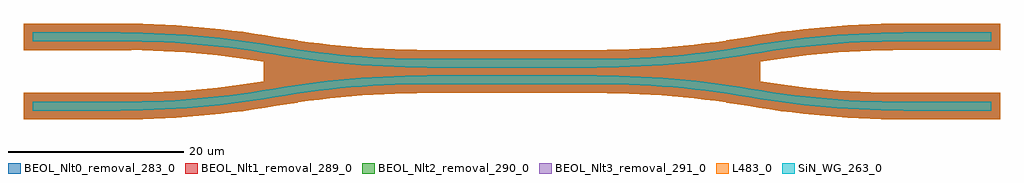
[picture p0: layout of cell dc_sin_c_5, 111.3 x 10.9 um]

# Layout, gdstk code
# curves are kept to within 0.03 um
import gdstk
lib = gdstk.Library(unit=1e-6, precision=1e-09)
def R(c, l, rs):  # rectangles x0, y0, x1, y1
    for r in rs: c.add(gdstk.rectangle(r[:2], r[2:], *l))
def P(c, l, *ps):  # polygons
    for p in ps: c.add(gdstk.Polygon(p, *l))
SiN_WG_263_0 = (263, 0)
BEOL_Nlt0_removal_283_0 = (283, 0)
BEOL_Nlt1_removal_289_0 = (289, 0)
BEOL_Nlt2_removal_290_0 = (290, 0)
BEOL_Nlt3_removal_291_0 = (291, 0)
L483_0 = (483, 0)

c_v2 = lib.new_cell('V2')
R(c_v2, SiN_WG_263_0, [(0,0,10,1), (99.3,0,109.3,1), (45,3,64.3,4), (45,4.9,64.3,5.9), (0,7.9,10,8.9), (99.3,7.9,109.3,8.9)])
P(c_v2, SiN_WG_263_0, [(99.3,0),(95.514,0.068),(92.993,0.192),(90.476,0.376),(87.964,0.623),(85.458,0.93),(81.715,1.507),(81.885,2.493),(85.591,1.922),(88.073,1.617),(90.561,1.373),(94.302,1.121),(96.8,1.03),(99.3,1)],
  [(81.715,1.507),(78.009,2.078),(75.527,2.383),(73.039,2.627),(69.298,2.879),(66.8,2.97),(64.3,3),(64.3,4),(68.086,3.932),(71.866,3.724),(75.636,3.377),(79.392,2.893),(81.885,2.493)],
  [(27.585,1.507),(27.415,2.493),(29.908,2.893),(33.664,3.377),(37.434,3.724),(41.214,3.932),(45,4),(45,3),(42.5,2.97),(40.002,2.879),(36.261,2.627),(33.773,2.383),(31.291,2.078)],
  [(10,0),(10,1),(12.5,1.03),(14.998,1.121),(18.739,1.373),(21.227,1.617),(23.709,1.922),(27.415,2.493),(27.585,1.507),(23.842,0.93),(21.336,0.623),(18.824,0.376),(16.307,0.192),(13.786,0.068)],
  [(81.885,6.407),(81.715,7.393),(84.208,7.793),(87.964,8.277),(91.734,8.624),(95.514,8.832),(99.3,8.9),(99.3,7.9),(96.8,7.87),(94.302,7.779),(90.561,7.527),(88.073,7.283),(85.591,6.978)],
  [(64.3,4.9),(64.3,5.9),(66.8,5.93),(69.298,6.021),(73.039,6.273),(75.527,6.517),(78.009,6.822),(81.715,7.393),(81.885,6.407),(78.142,5.83),(75.636,5.523),(73.124,5.276),(70.607,5.092),(68.086,4.968)],
  [(45,4.9),(41.214,4.968),(38.693,5.092),(36.176,5.276),(33.664,5.523),(31.158,5.83),(27.415,6.407),(27.585,7.393),(31.291,6.822),(33.773,6.517),(36.261,6.273),(40.002,6.021),(42.5,5.93),(45,5.9)],
  [(27.415,6.407),(23.709,6.978),(21.227,7.283),(18.739,7.527),(14.998,7.779),(12.5,7.87),(10,7.9),(10,8.9),(13.786,8.832),(17.566,8.624),(21.336,8.277),(25.092,7.793),(27.585,7.393)])

v2_nit0 = lib.new_cell('V2_nit0')
P(v2_nit0, BEOL_Nlt0_removal_283_0, [(-1,-1),(-1,2),(11.244,2.007),(14.943,2.119),(18.652,2.369),(21.123,2.611),(23.581,2.914),(26.312,3.322),(26.312,5.578),(23.581,5.986),(21.123,6.289),(18.652,6.531),(16.179,6.713),(13.719,6.832),(9.994,6.9),(-1,6.9),(-1,9.9),(11.274,9.893),(13.822,9.831),(16.368,9.706),(18.91,9.52),(22.712,9.124),(25.238,8.782),(31.419,7.814),(35.12,7.382),(40.057,7.019),(45.006,6.9),(64.3,6.9),(69.243,7.019),(72.952,7.269),(75.423,7.511),(79.095,7.985),(85.324,8.961),(89.121,9.403),(91.661,9.621),(94.204,9.777),(98.026,9.893),(110.3,9.9),(110.3,6.9),(98.056,6.893),(94.357,6.781),(90.648,6.531),(88.177,6.289),(85.719,5.986),(82.988,5.578),(82.988,3.322),(85.719,2.914),(88.177,2.611),(90.648,2.369),(93.121,2.187),(95.581,2.068),(99.306,2),(110.3,2),(110.3,-1),(98.026,-0.993),(95.478,-0.931),(92.932,-0.806),(90.39,-0.62),(86.588,-0.224),(84.062,0.118),(77.881,1.086),(74.18,1.518),(69.243,1.881),(64.294,2),(45,2),(40.057,1.881),(36.348,1.631),(33.877,1.389),(30.205,0.915),(23.976,-0.061),(20.179,-0.503),(17.639,-0.721),(15.096,-0.877),(11.274,-0.993)])

v2_nit1 = lib.new_cell('V2_nit1')
P(v2_nit1, BEOL_Nlt1_removal_289_0, [(-1,-1),(-1,2),(11.244,2.007),(14.943,2.119),(18.652,2.369),(21.123,2.611),(23.581,2.914),(26.312,3.322),(26.312,5.578),(23.581,5.986),(21.123,6.289),(18.652,6.531),(16.179,6.713),(13.719,6.832),(9.994,6.9),(-1,6.9),(-1,9.9),(11.274,9.893),(13.822,9.831),(16.368,9.706),(18.91,9.52),(22.712,9.124),(25.238,8.782),(31.419,7.814),(35.12,7.382),(40.057,7.019),(45.006,6.9),(64.3,6.9),(69.243,7.019),(72.952,7.269),(75.423,7.511),(79.095,7.985),(85.324,8.961),(89.121,9.403),(91.661,9.621),(94.204,9.777),(98.026,9.893),(110.3,9.9),(110.3,6.9),(98.056,6.893),(94.357,6.781),(90.648,6.531),(88.177,6.289),(85.719,5.986),(82.988,5.578),(82.988,3.322),(85.719,2.914),(88.177,2.611),(90.648,2.369),(93.121,2.187),(95.581,2.068),(99.306,2),(110.3,2),(110.3,-1),(98.026,-0.993),(95.478,-0.931),(92.932,-0.806),(90.39,-0.62),(86.588,-0.224),(84.062,0.118),(77.881,1.086),(74.18,1.518),(69.243,1.881),(64.294,2),(45,2),(40.057,1.881),(36.348,1.631),(33.877,1.389),(30.205,0.915),(23.976,-0.061),(20.179,-0.503),(17.639,-0.721),(15.096,-0.877),(11.274,-0.993)])

v2_nit2 = lib.new_cell('V2_nit2')
P(v2_nit2, BEOL_Nlt2_removal_290_0, [(-1,-1),(-1,2),(11.244,2.007),(14.943,2.119),(18.652,2.369),(21.123,2.611),(23.581,2.914),(26.312,3.322),(26.312,5.578),(23.581,5.986),(21.123,6.289),(18.652,6.531),(16.179,6.713),(13.719,6.832),(9.994,6.9),(-1,6.9),(-1,9.9),(11.274,9.893),(13.822,9.831),(16.368,9.706),(18.91,9.52),(22.712,9.124),(25.238,8.782),(31.419,7.814),(35.12,7.382),(40.057,7.019),(45.006,6.9),(64.3,6.9),(69.243,7.019),(72.952,7.269),(75.423,7.511),(79.095,7.985),(85.324,8.961),(89.121,9.403),(91.661,9.621),(94.204,9.777),(98.026,9.893),(110.3,9.9),(110.3,6.9),(98.056,6.893),(94.357,6.781),(90.648,6.531),(88.177,6.289),(85.719,5.986),(82.988,5.578),(82.988,3.322),(85.719,2.914),(88.177,2.611),(90.648,2.369),(93.121,2.187),(95.581,2.068),(99.306,2),(110.3,2),(110.3,-1),(98.026,-0.993),(95.478,-0.931),(92.932,-0.806),(90.39,-0.62),(86.588,-0.224),(84.062,0.118),(77.881,1.086),(74.18,1.518),(69.243,1.881),(64.294,2),(45,2),(40.057,1.881),(36.348,1.631),(33.877,1.389),(30.205,0.915),(23.976,-0.061),(20.179,-0.503),(17.639,-0.721),(15.096,-0.877),(11.274,-0.993)])

v2_nit3 = lib.new_cell('V2_nit3')
P(v2_nit3, BEOL_Nlt3_removal_291_0, [(-1,-1),(-1,2),(11.244,2.007),(14.943,2.119),(18.652,2.369),(21.123,2.611),(23.581,2.914),(26.312,3.322),(26.312,5.578),(23.581,5.986),(21.123,6.289),(18.652,6.531),(16.179,6.713),(13.719,6.832),(9.994,6.9),(-1,6.9),(-1,9.9),(11.274,9.893),(13.822,9.831),(16.368,9.706),(18.91,9.52),(22.712,9.124),(25.238,8.782),(31.419,7.814),(35.12,7.382),(40.057,7.019),(45.006,6.9),(64.3,6.9),(69.243,7.019),(72.952,7.269),(75.423,7.511),(79.095,7.985),(85.324,8.961),(89.121,9.403),(91.661,9.621),(94.204,9.777),(98.026,9.893),(110.3,9.9),(110.3,6.9),(98.056,6.893),(94.357,6.781),(90.648,6.531),(88.177,6.289),(85.719,5.986),(82.988,5.578),(82.988,3.322),(85.719,2.914),(88.177,2.611),(90.648,2.369),(93.121,2.187),(95.581,2.068),(99.306,2),(110.3,2),(110.3,-1),(98.026,-0.993),(95.478,-0.931),(92.932,-0.806),(90.39,-0.62),(86.588,-0.224),(84.062,0.118),(77.881,1.086),(74.18,1.518),(69.243,1.881),(64.294,2),(45,2),(40.057,1.881),(36.348,1.631),(33.877,1.389),(30.205,0.915),(23.976,-0.061),(20.179,-0.503),(17.639,-0.721),(15.096,-0.877),(11.274,-0.993)])

v2_nitpasv = lib.new_cell('V2_nitpasv')
P(v2_nitpasv, L483_0, [(-1,-1),(-1,2),(11.244,2.007),(14.943,2.119),(18.652,2.369),(21.123,2.611),(23.581,2.914),(26.312,3.322),(26.312,5.578),(23.581,5.986),(21.123,6.289),(18.652,6.531),(16.179,6.713),(13.719,6.832),(9.994,6.9),(-1,6.9),(-1,9.9),(11.274,9.893),(13.822,9.831),(16.368,9.706),(18.91,9.52),(22.712,9.124),(25.238,8.782),(31.419,7.814),(35.12,7.382),(40.057,7.019),(45.006,6.9),(64.3,6.9),(69.243,7.019),(72.952,7.269),(75.423,7.511),(79.095,7.985),(85.324,8.961),(89.121,9.403),(91.661,9.621),(94.204,9.777),(98.026,9.893),(110.3,9.9),(110.3,6.9),(98.056,6.893),(94.357,6.781),(90.648,6.531),(88.177,6.289),(85.719,5.986),(82.988,5.578),(82.988,3.322),(85.719,2.914),(88.177,2.611),(90.648,2.369),(93.121,2.187),(95.581,2.068),(99.306,2),(110.3,2),(110.3,-1),(98.026,-0.993),(95.478,-0.931),(92.932,-0.806),(90.39,-0.62),(86.588,-0.224),(84.062,0.118),(77.881,1.086),(74.18,1.518),(69.243,1.881),(64.294,2),(45,2),(40.057,1.881),(36.348,1.631),(33.877,1.389),(30.205,0.915),(23.976,-0.061),(20.179,-0.503),(17.639,-0.721),(15.096,-0.877),(11.274,-0.993)])

dc_sin_c_5 = lib.new_cell('dc_sin_c_5')
dc_sin_c_5.add(gdstk.Reference(c_v2, (0,0)))
dc_sin_c_5.add(gdstk.Reference(v2_nit0, (0,0)))
dc_sin_c_5.add(gdstk.Reference(v2_nit1, (0,0)))
dc_sin_c_5.add(gdstk.Reference(v2_nit2, (0,0)))
dc_sin_c_5.add(gdstk.Reference(v2_nit3, (0,0)))
dc_sin_c_5.add(gdstk.Reference(v2_nitpasv, (0,0)))

lib.write_gds('dc_sin_c_5.gds')
